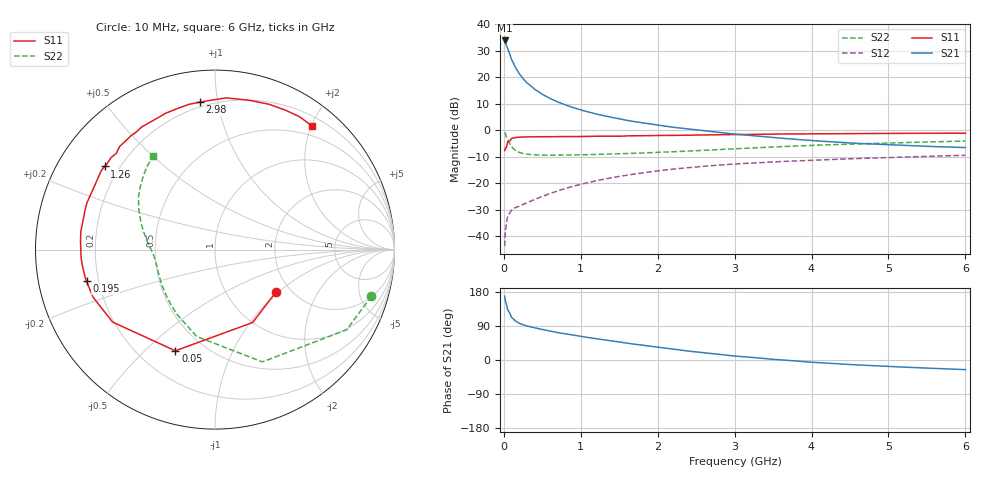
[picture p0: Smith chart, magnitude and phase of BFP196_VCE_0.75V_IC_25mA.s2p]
! Infineon Technologies  Discrete & RF Semiconductors
! BFP196
! VCE = 0.75V,  IC =  25mA
! Common Emitter S-Parameters:  Jan 2016
# GHz  S  MA  R  50
!  f  S11  S21  S12  S22
! GHz  MAG  ANG  MAG  ANG  MAG  ANG  MAG  ANG
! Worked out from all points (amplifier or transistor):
!   210 points, 10 MHz to 6 GHz, reference 50 ohm
!   highest |S21| = 33.8 dB at 10 MHz (marker M1)
!   |S21| within 3 dB of that: start of sweep to 49.09 MHz
!   unconditionally stable (mu >= 1): 548.7 MHz to end of sweep
!   at 185 MHz: K = 0.56, MSG = 25.4 dB, |S12| = -28.8 dB
!   at 1.52 GHz: K = 1.13, MAG = 8.6 dB, |S12| = -17.3 dB
!   at 6 GHz: K = 1.02, MAG = 0.6 dB, |S12| = -9.5 dB
!   S11 on the Smith chart (normalised r, x): 10 MHz: 1.69, -0.96; 50 MHz: 0.35, -0.62; 195 MHz: 0.15, -0.12; 1.26 GHz: 0.14, +0.33; 2.98 GHz: 0.17, +0.89; 6 GHz: 0.34, +2.00
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0.01  0.414 -34.6  49.22 168.4  0.0065 78.0  0.909 -16.6
0.02  0.4571 -62.7  45.75 156.4  0.0125 69.6  0.8592 -31.3
0.05  0.6055 -111.4  34.6 132.1  0.024 50.0  0.6792 -67.1
0.1  0.6989 -144.7  21.61 112.3  0.031 39.0  0.4947 -101.9
0.15  0.7292 -158.6  15.18 102.7  0.0347 37.8  0.4174 -120.9
0.195  0.7372 -166.1  11.98 97.5  0.0367 39.2  0.3847 -131.8
0.24  0.7423 -171.3  9.785 93.7  0.0392 40.7  0.366 -140.1
0.26  0.7442 -173.2  9.025 92.2  0.0404 41.5  0.3608 -143.0
0.3  0.7475 -176.6  7.823 89.6  0.0429 43.3  0.3538 -147.5
0.4  0.7506 176.6  5.927 84.6  0.0493 47.1  0.3428 -155.9
0.5  0.7544 172.3  4.746 80.5  0.0565 50.2  0.3384 -161.2
0.6  0.7525 167.5  3.965 76.3  0.0639 51.7  0.3369 -164.8
0.7  0.757 163.1  3.416 72.2  0.0716 52.8  0.338 -167.7
1.02  0.76 151.1  2.367 61.9  0.0967 53.1  0.343 -174.2
1.26  0.7694 143.0  1.933 54.3  0.1161 51.9  0.3502 -177.7
1.6  0.7823 132.8  1.532 44.4  0.142 48.4  0.3634 177.8
2.02  0.7959 120.4  1.235 33.4  0.1721 43.1  0.383 172.4
2.98  0.8258 96.0  0.852 10.9  0.2295 29.7  0.444 159.0
3.1  0.8288 93.6  0.82 8.9  0.2347 28.0  0.4521 157.2
4.1  0.8547 75.4  0.624 -7.0  0.2745 15.6  0.5238 144.1
5.1  0.8712 62.1  0.524 -17.9  0.3081 4.6  0.5774 133.2
6  0.8758 52.0  0.471 -25.4  0.336 -5.3  0.6238 123.7
